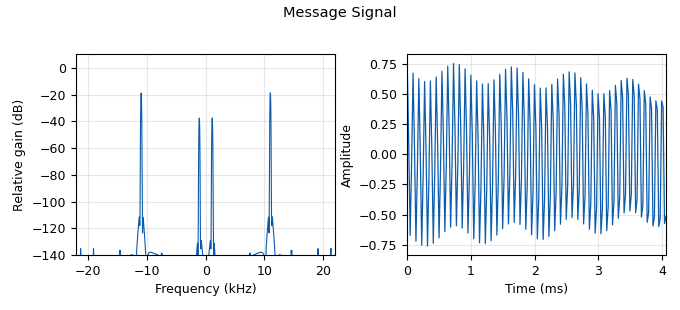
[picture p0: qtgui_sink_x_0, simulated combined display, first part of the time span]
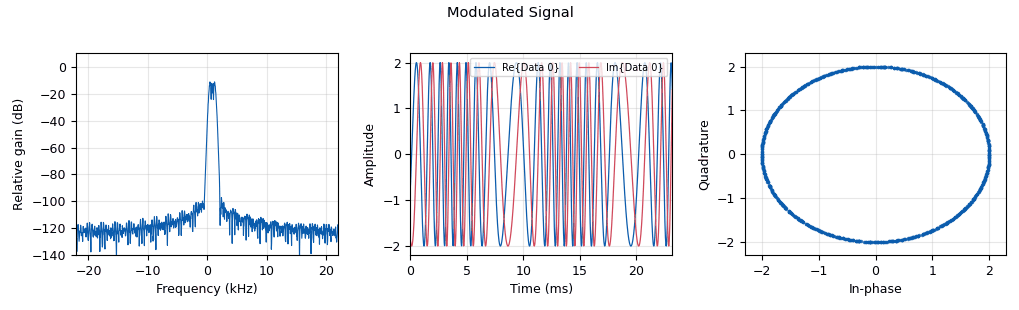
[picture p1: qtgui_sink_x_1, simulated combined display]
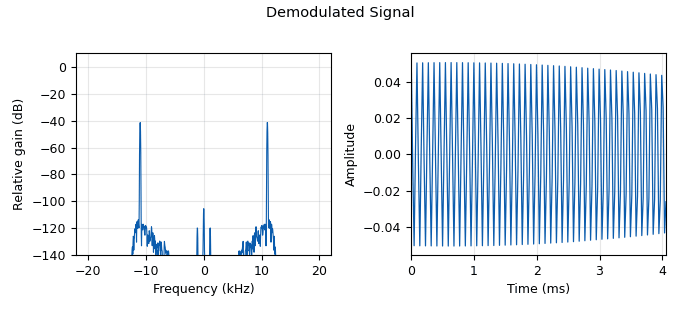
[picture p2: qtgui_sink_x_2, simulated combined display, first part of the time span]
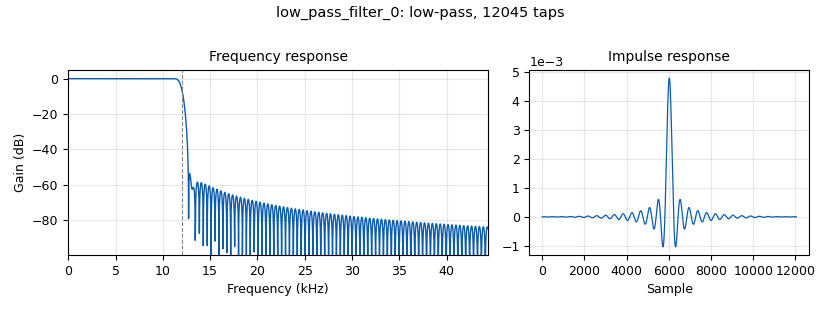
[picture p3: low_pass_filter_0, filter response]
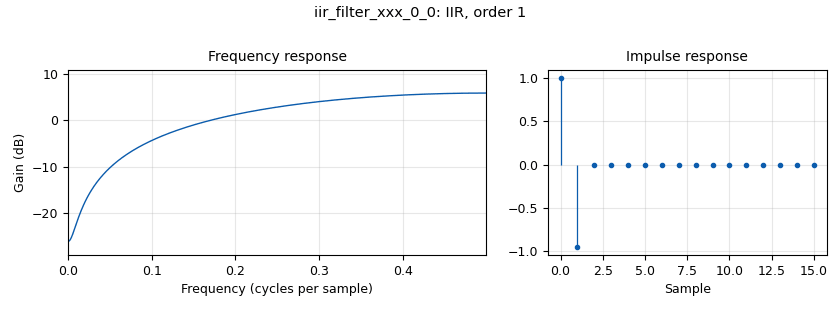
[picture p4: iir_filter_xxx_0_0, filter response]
options:
  parameters:
    generate_options: qt_gui
    id: q1a
    output_language: python
    title: Q1A
  states: {}

blocks:
- name: samp_rate
  id: variable
  parameters:
    value: '44100'
  states: {}
- name: samp_rate1
  id: variable
  parameters:
    value: '5000000'
  states: {}
- name: analog_noise_source_x_0
  id: analog_noise_source_x
  parameters:
    amp: '0.2'
    noise_type: analog.GR_GAUSSIAN
    seed: '0'
    type: complex
  states: {}
- name: analog_phase_modulator_fc_0
  id: analog_phase_modulator_fc
  parameters:
    sensitivity: '471230'
  states: {}
- name: analog_sig_source_x_0
  id: analog_sig_source_x
  parameters:
    amp: '0.5'
    freq: '11000'
    offset: '0'
    phase: '0'
    samp_rate: samp_rate
    type: float
    waveform: analog.GR_COS_WAVE
  states: {}
- name: analog_sig_source_x_1
  id: analog_sig_source_x
  parameters:
    amp: '0.5'
    freq: '1100'
    offset: '0'
    phase: '0'
    samp_rate: samp_rate
    type: float
    waveform: analog.GR_COS_WAVE
  states: {}
- name: analog_sig_source_x_2
  id: analog_sig_source_x
  parameters:
    amp: '2'
    freq: '100000'
    offset: '0'
    phase: '0'
    samp_rate: samp_rate1
    type: complex
    waveform: analog.GR_COS_WAVE
  states: {}
- name: blocks_add_xx_0
  id: blocks_add_xx
  parameters:
    type: float
  states: {}
- name: blocks_add_xx_1
  id: blocks_add_xx
  parameters:
    type: complex
  states: {}
- name: blocks_complex_to_arg_0
  id: blocks_complex_to_arg
  parameters: {}
  states: {}
- name: blocks_conjugate_cc_0
  id: blocks_conjugate_cc
  parameters: {}
  states: {}
- name: blocks_delay_0
  id: blocks_delay
  parameters:
    delay: '1'
    type: complex
  states: {}
- name: blocks_multiply_const_vxx_0
  id: blocks_multiply_const_vxx
  parameters:
    const: 1/6.28
    type: float
  states: {}
- name: blocks_multiply_const_vxx_0_0
  id: blocks_multiply_const_vxx
  parameters:
    const: '100'
    type: float
  states: {}
- name: blocks_multiply_xx_0
  id: blocks_multiply_xx
  parameters:
    type: complex
  states: {}
- name: blocks_multiply_xx_0_0
  id: blocks_multiply_xx
  parameters:
    type: complex
  states: {}
- name: blocks_throttle_0
  id: blocks_throttle
  parameters:
    samples_per_second: samp_rate
    type: float
  states: {}
- name: blocks_throttle_0_0
  id: blocks_throttle
  parameters:
    samples_per_second: samp_rate1
    type: complex
  states: {}
- name: blocks_throttle_0_0_0
  id: blocks_throttle
  parameters:
    samples_per_second: samp_rate
    type: float
  states: {}
- name: dc_blocker_xx_0
  id: dc_blocker_xx
  parameters:
    length: '32'
    long_form: 'True'
    type: ff
  states: {}
- name: iir_filter_xxx_0
  id: iir_filter_xxx
  parameters:
    fbtaps: '[1,1]'
    fftaps: '[0,1/samp_rate]'
    type: ffd
  states: {}
- name: iir_filter_xxx_0_0
  id: iir_filter_xxx
  parameters:
    fbtaps: '1'
    fftaps: '[1,-0.95]'
    oldstyle: 'False'
    type: ffd
  states: {}
- name: iir_filter_xxx_0_0_0
  id: iir_filter_xxx
  parameters:
    fbtaps: '1'
    fftaps: '[1,-0.95]'
    oldstyle: 'False'
    type: ffd
  states: {}
- name: low_pass_filter_0
  id: low_pass_filter
  parameters:
    cutoff_freq: '12000'
    decim: '1'
    gain: '1'
    samp_rate: samp_rate1
    type: fir_filter_fff
    width: '1000'
    win: firdes.WIN_HAMMING
  states: {}
- name: qtgui_sink_x_0
  id: qtgui_sink_x
  parameters:
    bw: samp_rate
    fc: '0'
    fftsize: '1024'
    name: Message Signal
    type: float
    wintype: firdes.WIN_BLACKMAN_hARRIS
  states: {}
- name: qtgui_sink_x_1
  id: qtgui_sink_x
  parameters:
    bw: samp_rate
    fc: '0'
    fftsize: '1024'
    name: Modulated Signal
    type: complex
    wintype: firdes.WIN_BLACKMAN_hARRIS
  states: {}
- name: qtgui_sink_x_2
  id: qtgui_sink_x
  parameters:
    bw: samp_rate
    fc: '0'
    fftsize: '1024'
    name: Demodulated Signal
    type: float
    wintype: firdes.WIN_BLACKMAN_hARRIS
  states: {}
- name: qtgui_tab_widget_0
  id: qtgui_tab_widget
  parameters:
    label0: Message Signal
    label1: Modulated Signal
    label2: Demodulated Signal
    num_tabs: '3'
  states: {}
- name: rational_resampler_xxx_0
  id: rational_resampler_xxx
  parameters:
    decim: samp_rate
    interp: samp_rate1
    taps: ''
    type: fff
  states: {}
- name: rational_resampler_xxx_0_0
  id: rational_resampler_xxx
  parameters:
    decim: samp_rate1
    interp: samp_rate
    taps: ''
    type: fff
  states: {}

connections:
- [analog_noise_source_x_0, '0', blocks_add_xx_1, '1']
- [analog_phase_modulator_fc_0, '0', blocks_multiply_xx_0, '0']
- [analog_sig_source_x_0, '0', blocks_add_xx_0, '1']
- [analog_sig_source_x_1, '0', blocks_add_xx_0, '0']
- [analog_sig_source_x_2, '0', blocks_multiply_xx_0, '1']
- [blocks_add_xx_0, '0', iir_filter_xxx_0_0, '0']
- [blocks_add_xx_1, '0', blocks_delay_0, '0']
- [blocks_add_xx_1, '0', blocks_multiply_xx_0_0, '0']
- [blocks_complex_to_arg_0, '0', blocks_multiply_const_vxx_0, '0']
- [blocks_conjugate_cc_0, '0', blocks_multiply_xx_0_0, '1']
- [blocks_delay_0, '0', blocks_conjugate_cc_0, '0']
- [blocks_multiply_const_vxx_0, '0', low_pass_filter_0, '0']
- [blocks_multiply_const_vxx_0_0, '0', blocks_throttle_0, '0']
- [blocks_multiply_xx_0, '0', blocks_add_xx_1, '0']
- [blocks_multiply_xx_0, '0', blocks_throttle_0_0, '0']
- [blocks_multiply_xx_0_0, '0', blocks_complex_to_arg_0, '0']
- [blocks_throttle_0, '0', qtgui_sink_x_2, '0']
- [blocks_throttle_0_0, '0', qtgui_sink_x_1, '0']
- [blocks_throttle_0_0_0, '0', qtgui_sink_x_0, '0']
- [dc_blocker_xx_0, '0', rational_resampler_xxx_0_0, '0']
- [iir_filter_xxx_0, '0', rational_resampler_xxx_0, '0']
- [iir_filter_xxx_0_0, '0', blocks_throttle_0_0_0, '0']
- [iir_filter_xxx_0_0, '0', iir_filter_xxx_0, '0']
- [iir_filter_xxx_0_0_0, '0', blocks_multiply_const_vxx_0_0, '0']
- [low_pass_filter_0, '0', dc_blocker_xx_0, '0']
- [rational_resampler_xxx_0, '0', analog_phase_modulator_fc_0, '0']
- [rational_resampler_xxx_0_0, '0', iir_filter_xxx_0_0_0, '0']

metadata:
  file_format: 1
